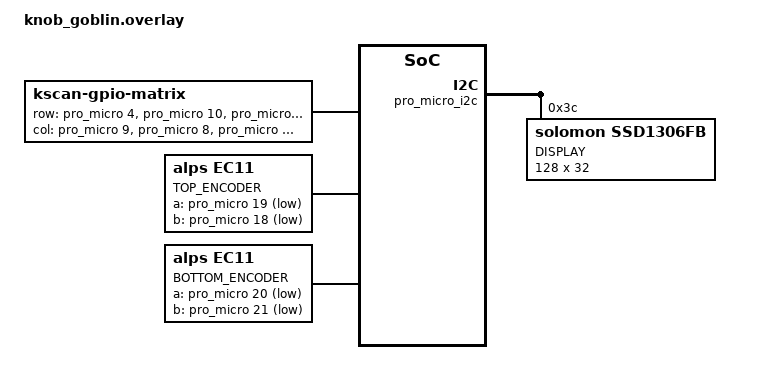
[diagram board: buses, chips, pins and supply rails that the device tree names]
/*
 * Copyright (c) 2022 The ZMK Contributors
 *
 * SPDX-License-Identifier: MIT
 */

#include <dt-bindings/zmk/matrix_transform.h>

/ {
    chosen {
        zephyr,display = &oled;
        zmk,kscan = &kscan0;
    };

    kscan0: kscan {
        compatible = "zmk,kscan-gpio-matrix";
        label = "KSCAN";
        diode-direction = "col2row";

         row-gpios
            = <&pro_micro  4 (GPIO_ACTIVE_HIGH | GPIO_PULL_DOWN)>
            , <&pro_micro 10 (GPIO_ACTIVE_HIGH | GPIO_PULL_DOWN)>
            , <&pro_micro 16 (GPIO_ACTIVE_HIGH | GPIO_PULL_DOWN)>
            , <&pro_micro 14 (GPIO_ACTIVE_HIGH | GPIO_PULL_DOWN)>
            , <&pro_micro 15 (GPIO_ACTIVE_HIGH | GPIO_PULL_DOWN)>
            ;

        col-gpios
            = <&pro_micro 9 GPIO_ACTIVE_HIGH>
            , <&pro_micro 8 GPIO_ACTIVE_HIGH>
            , <&pro_micro 7 GPIO_ACTIVE_HIGH>
            , <&pro_micro 6 GPIO_ACTIVE_HIGH>
            , <&pro_micro 5 GPIO_ACTIVE_HIGH>
            ;
    };

    top_encoder: encoder_top {
        compatible = "alps,ec11";
        label = "TOP_ENCODER";
        a-gpios = <&pro_micro 19 (GPIO_ACTIVE_LOW | GPIO_PULL_UP)>;
        b-gpios = <&pro_micro 18 (GPIO_ACTIVE_LOW | GPIO_PULL_UP)>;
        steps = <80>;
        status = "okay";
    };

    bottom_encoder: encoder_bottom {
        compatible = "alps,ec11";
        label = "BOTTOM_ENCODER";
        a-gpios = <&pro_micro 20 (GPIO_ACTIVE_LOW | GPIO_PULL_UP)>;
        b-gpios = <&pro_micro 21 (GPIO_ACTIVE_LOW | GPIO_PULL_UP)>;
        steps = <80>;
        status = "okay";
    };

    sensors: sensors {
        compatible = "zmk,keymap-sensors";
        sensors = <&top_encoder &bottom_encoder>;
        triggers-per-rotation = <20>;
    };

};

&pro_micro_i2c {
    status = "okay";

    oled: ssd1306@3c {
        compatible = "solomon,ssd1306fb";
        reg = <0x3c>;
        label = "DISPLAY";
        width = <128>;
        height = <32>;
        segment-offset = <0>;
        page-offset = <0>;
        display-offset = <0>;
        multiplex-ratio = <31>;
        segment-remap;
        com-invdir;
        com-sequential;
        prechargep = <0x22>;
    };
};
